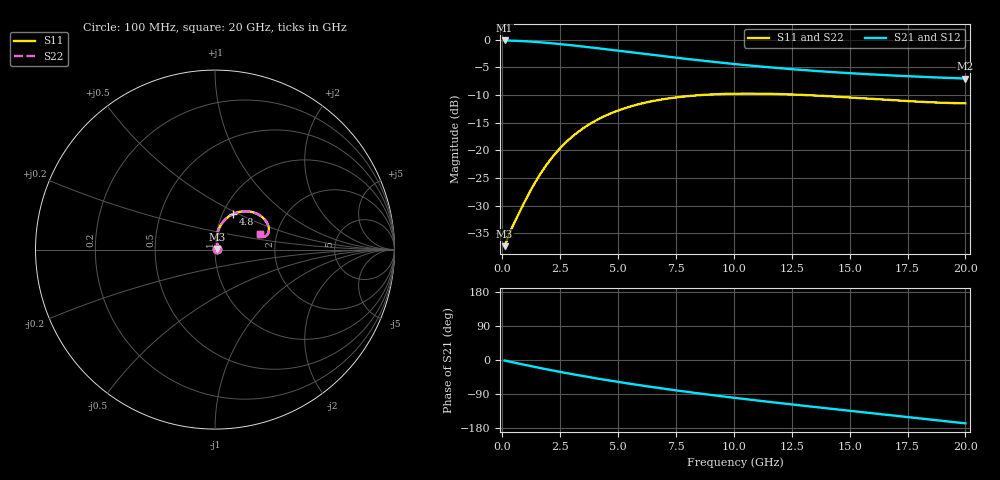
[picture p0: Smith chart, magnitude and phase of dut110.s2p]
! Touchstone file exported from HFSS 2024.1.0
!  File:  C:/UserFiles/LocalFiles/RDL_TSV_Batchsim/temp_RDL_TSV_110_1779422137.aedt
!  Generated:  12:10:19 PM May 22, 2026
!  Design:  RDL_TSV
!  Project:  temp_RDL_TSV_110_1779422137
!  Setup:  Setup1
!  Solution:  Sweep
! Variables:
!  dtsv = 7.08um
!  hbump = 3um
!  htsv = 51.02um
!  ldown = 105.83um
!  lrdl = 581.73um
!  p = 40
!  p1 = 44.16um
!  rhole = 10um
!  subl = 2644.41um
!  t = 450um
!  tdown = 3.52um
!  trdl = 3.79um
!  viad = 10um
!  wdown = 14.62um
!  wrdl = 22.52um
!  xbump = 18um
# GHz S MA R 50.000000
! Terminal data exported
! Port[1] = TM1_1_T1
! Port[2] = TM1_4_T1
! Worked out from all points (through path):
!   200 points, 100 MHz to 20 GHz, reference 50 ohm
!   highest |S21| = -0.12 dB at 100 MHz (marker M1); lowest = -7.0 dB at 20 GHz (marker M2)
!   group delay of S21, straight-line fit = 22.1 ps
!   lowest |S11| = -37.4 dB at 100 MHz (marker M3), VSWR 1.03, Z = 51.3 + j0.399 ohm
!   |S11| at or under -10 dB: start of sweep to 8.588 GHz; 13.11 GHz to end of sweep
!   |S22| runs from -37.4 to -9.7 dB; largest |S21 - S12| = 9.5e-15
!   S11 on the Smith chart (normalised r, x): 100 MHz: 1.03, +0.01; 4.8 GHz: 1.12, +0.46; 20 GHz: 1.64, +0.30
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0.1  0.01355 16.7  0.9868 -1.4  0.9868 -1.4  0.01355 16.7
! Gamma 0 0 0 0
! Port Impedance 50 0 50 0
0.4  0.01952 43.9  0.983 -5.4  0.983 -5.4  0.01952 43.9
0.8  0.02917 63.5  0.9755 -10.6  0.9755 -10.6  0.02917 63.4
1.3  0.04629 76.5  0.9619 -17.0  0.9619 -17.0  0.04628 76.5
1.7  0.06369 80.8  0.948 -22.0  0.948 -22.0  0.06368 80.8
2.1  0.08343 81.8  0.9321 -26.8  0.9321 -26.8  0.0834 81.7
2.5  0.1046 80.8  0.9149 -31.5  0.9149 -31.5  0.1045 80.8
3  0.1317 78.0  0.8922 -37.1  0.8922 -37.1  0.1317 77.9
3.5  0.1585 74.2  0.8688 -42.5  0.8688 -42.5  0.1584 74.2
4.1  0.1888 69.3  0.8403 -48.8  0.8403 -48.8  0.1888 69.3
4.8  0.2207 63.3  0.8072 -55.8  0.8072 -55.8  0.2206 63.3
5.7  0.255 56.0  0.7657 -64.4  0.7657 -64.4  0.2549 55.9
6.8  0.2864 47.7  0.7179 -74.2  0.7179 -74.2  0.2863 47.7
7.6  0.3027 42.4  0.6858 -81.0  0.6858 -81.0  0.3026 42.3
8.4  0.3142 37.5  0.6561 -87.4  0.6561 -87.4  0.314 37.5
10.1  0.3254 28.9  0.6014 -100.3  0.6014 -100.3  0.3252 28.9
11.7  0.3239 22.8  0.56 -111.7  0.56 -111.7  0.3237 22.7
13.4  0.3141 18.1  0.525 -123.3  0.525 -123.3  0.3139 18.1
15  0.3006 15.6  0.4991 -134.0  0.4991 -134.0  0.3004 15.5
16.7  0.2853 14.8  0.4772 -145.3  0.4772 -145.3  0.285 14.8
18.4  0.2725 16.0  0.4597 -156.5  0.4597 -156.5  0.2723 16.0
20  0.2663 18.6  0.4459 -167.2  0.4459 -167.2  0.266 18.6
